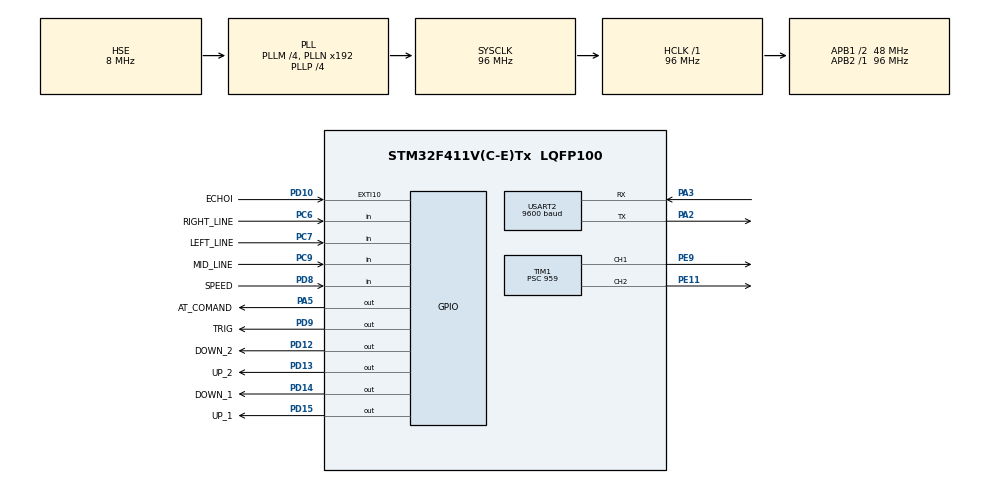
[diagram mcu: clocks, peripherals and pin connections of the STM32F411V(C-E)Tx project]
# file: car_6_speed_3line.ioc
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Mcu.Family=STM32F4
Mcu.Name=STM32F411V(C-E)Tx
Mcu.Package=LQFP100
NVIC.EXTI15_10_IRQn=true\:0\:0\:false\:false\:true\:true\:true
NVIC.PriorityGroup=NVIC_PRIORITYGROUP_0
NVIC.TIM1_BRK_TIM9_IRQn=true\:0\:0\:false\:false\:true\:true\:true
NVIC.TIM1_CC_IRQn=true\:0\:0\:false\:false\:true\:true\:true
NVIC.TIM1_TRG_COM_TIM11_IRQn=true\:0\:0\:false\:false\:true\:true\:true
NVIC.TIM1_UP_TIM10_IRQn=true\:0\:0\:false\:false\:true\:true\:true
NVIC.TIM2_IRQn=true\:0\:0\:false\:false\:true\:true\:true
NVIC.USART2_IRQn=true\:0\:0\:false\:false\:true\:true\:true
PA13.Mode=Serial_Wire
PA13.Signal=SYS_JTMS-SWDIO
PA14.GPIO_Label=SWCLK
PA14.Mode=Serial_Wire
PA14.Signal=SYS_JTCK-SWCLK
PA2.Mode=Asynchronous
PA2.Signal=USART2_TX
PA3.Mode=Asynchronous
PA3.Signal=USART2_RX
PA5.GPIO_Label=AT_COMAND
PA5.GPIO_Speed=GPIO_SPEED_FREQ_MEDIUM
PA5.Signal=GPIO_Output
PC14-OSC32_IN.Mode=LSE-External-Oscillator
PC14-OSC32_IN.Signal=RCC_OSC32_IN
PC15-OSC32_OUT.Mode=LSE-External-Oscillator
PC15-OSC32_OUT.Signal=RCC_OSC32_OUT
PC6.GPIO_Label=RIGHT_LINE
PC6.Signal=GPIO_Input
PC7.GPIO_Label=LEFT_LINE
PC7.Signal=GPIO_Input
PC9.GPIO_Label=MID_LINE
PC9.Signal=GPIO_Input
PD10.GPIO_Label=ECHOI
PD10.GPIO_ModeDefaultEXTI=GPIO_MODE_IT_RISING_FALLING
PD10.Signal=GPXTI10
PD12.GPIO_Label=DOWN_2
PD12.Signal=GPIO_Output
PD13.GPIO_Label=UP_2
PD13.Signal=GPIO_Output
PD14.GPIO_Label=DOWN_1
PD14.Signal=GPIO_Output
PD15.GPIO_Label=UP_1
PD15.Signal=GPIO_Output
PD8.GPIO_Label=SPEED
PD8.Signal=GPIO_Input
PD9.GPIO_Label=TRIG
PD9.Signal=GPIO_Output
PE11.Signal=S_TIM1_CH2
PE9.Signal=S_TIM1_CH1
PH0\ -\ OSC_IN.Mode=HSE-External-Clock-Source
PH0\ -\ OSC_IN.Signal=RCC_OSC_IN
PH1\ -\ OSC_OUT.Mode=HSE-External-Clock-Source
PH1\ -\ OSC_OUT.Signal=RCC_OSC_OUT
ProjectManager.HeapSize=0x200
ProjectManager.StackSize=0x400
ProjectManager.TargetToolchain=SW4STM32
RCC.48MHZClocksFreq_Value=48000000
RCC.AHBFreq_Value=96000000
RCC.APB1CLKDivider=RCC_HCLK_DIV2
RCC.APB1Freq_Value=48000000
RCC.APB1TimFreq_Value=96000000
RCC.APB2Freq_Value=96000000
RCC.APB2TimFreq_Value=96000000
RCC.CortexFreq_Value=96000000
RCC.HCLKFreq_Value=96000000
RCC.HSE_VALUE=8000000
RCC.HSI_VALUE=16000000
RCC.PLLI2SM=5
RCC.PLLI2SN=200
RCC.PLLM=4
RCC.PLLP=RCC_PLLP_DIV4
RCC.PLLQ=8
RCC.PLLSourceVirtual=RCC_PLLSOURCE_HSE
RCC.SYSCLKFreq_VALUE=96000000
RCC.SYSCLKSource=RCC_SYSCLKSOURCE_PLLCLK
RCC.VCOOutputFreq_Value=384000000
SH.S_TIM1_CH1.0=TIM1_CH1,PWM Generation1 CH1
SH.S_TIM1_CH2.0=TIM1_CH2,PWM Generation2 CH2
TIM1.Channel-PWM\ Generation1\ CH1=TIM_CHANNEL_1
TIM1.Channel-PWM\ Generation2\ CH2=TIM_CHANNEL_2
TIM1.Period=10
TIM1.Prescaler=959
TIM2.Period=4000
TIM2.Prescaler=35999
TIM2.TIM_MasterOutputTrigger=TIM_TRGO_UPDATE
USART2.BaudRate=9600
USART2.VirtualMode=VM_ASYNC
VP_TIM1_VS_ClockSourceINT.Mode=Internal
VP_TIM2_VS_ClockSourceINT.Mode=Internal
board=STM32F411E-DISCO

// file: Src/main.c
/* USER CODE BEGIN Header */
/**
  ******************************************************************************
  * @file           : main.c
  * @brief          : Main program body
  ******************************************************************************
  * @attention
  *
  * <h2><center>&copy; Copyright (c) 2020 STMicroelectronics.
  * All rights reserved.</center></h2>
  *
  * This software component is licensed by ST under BSD 3-Clause license,
  * the "License"; You may not use this file except in compliance with the
  * License. You may obtain a copy of the License at:
  *                        opensource.org/licenses/BSD-3-Clause
  *
  ******************************************************************************
  */
/* USER CODE END Header */

#include "main.h"
#include "tim.h"
#include "usart.h"
#include "gpio.h"

/* USER CODE BEGIN Includes */
#include <stdio.h>
#include <string.h>
/* USER CODE END Includes */

/* USER CODE BEGIN PTD */
typedef enum state_t {
 IDLE_S,
 TRIGGERING_S,
 WAITING_FOR_ECHO_START_S,
 WAITING_FOR_ECHO_STOP_S,
 TRIG_NOT_WENT_LOW_S,
 ECHO_TIMEOUT_S,
 ECHO_NOT_WENT_LOW_S,
 READING_DATA_S,
 ERROR_S
} state_t;

volatile state_t state = IDLE_S;

/* USER CODE END PTD */

/* USER CODE BEGIN PD */
#define LOOP_FREQ (SystemCoreClock/4000000)
#define SystemCoreClockInMHz (SystemCoreClock/1000000)
/* USER CODE END PD */

/* USER CODE BEGIN PV */
unsigned char str1[100] = "NOT STR\n";
unsigned char str2[100] = "STR\n";
unsigned volatile char meters_sec[100];
volatile uint32_t measured_time;

/* USER CODE END PV */

void SystemClock_Config(void);
uint8_t byte;
UART_HandleTypeDef huart2;

unsigned char b_chars[6];
/* USER CODE BEGIN PFP */
volatile uint32_t echo_start;
volatile uint32_t echo_finish;
volatile uint32_t measured_time;
volatile uint32_t num_div;
unsigned volatile char meters_sec[100];

volatile int *arr_ccr[] = {&TIM1->CCR1, &TIM1->CCR2};

void makeBalance(int side) {
	if (side == 1) {
		//going right
		*arr_ccr[0] = 4;
		*arr_ccr[1] = 0;

	} else {
		// going left
		*arr_ccr[0] = 0;
		*arr_ccr[1] = 4;
			//go
		}
	}

void line_mode(){

	*arr_ccr[0] = 4;
	*arr_ccr[1] = 4;
	go_up();

	// line is going left
	while (HAL_GPIO_ReadPin(GPIOC, LEFT_LINE_Pin) == 0) {
		makeBalance(0);
	}
	// car is going right
	while (HAL_GPIO_ReadPin(GPIOC, RIGHT_LINE_Pin) == 0) {
		makeBalance(1);
	}

}

void line_mode_2(){
	int speed = 6;
	while (byte != 'N'){

		while (HAL_GPIO_ReadPin(GPIOC, RIGHT_LINE_Pin) == 1 && HAL_GPIO_ReadPin(GPIOC, LEFT_LINE_Pin) == 1){
			reset_all();
//			go_up();
	//		HAL_Delay(1000);
			*arr_ccr[0] = 0;
			*arr_ccr[1] = 0;

		}
			while (HAL_GPIO_ReadPin(GPIOC, RIGHT_LINE_Pin) == 1 && HAL_GPIO_ReadPin(GPIOC, LEFT_LINE_Pin) == 0){
				reset_all();

				*arr_ccr[0] = speed;
				*arr_ccr[1] = speed;

				HAL_GPIO_WritePin(GPIOD, UP_1_Pin, 1);
				HAL_GPIO_WritePin(GPIOD, DOWN_1_Pin, 1);
			}

			while (HAL_GPIO_ReadPin(GPIOC, RIGHT_LINE_Pin) == 0 && HAL_GPIO_ReadPin(GPIOC, LEFT_LINE_Pin) == 1){
				reset_all();
				*arr_ccr[0] = speed;
				*arr_ccr[1] = speed;

				HAL_GPIO_WritePin(GPIOD, UP_2_Pin, 1);
				HAL_GPIO_WritePin(GPIOD, DOWN_2_Pin, 1);

			}

		while (HAL_GPIO_ReadPin(GPIOC, RIGHT_LINE_Pin) == 0 && HAL_GPIO_ReadPin(GPIOC, LEFT_LINE_Pin) == 0){
				reset_all();
				HAL_GPIO_WritePin(GPIOD, UP_1_Pin, 1);
				HAL_GPIO_WritePin(GPIOD, UP_2_Pin, 1);
				*arr_ccr[0] = speed;
				*arr_ccr[1] = speed;
		}
			}
}

void line_mode_3(){
	int speed = 6;
		while (byte != 'N'){

			// STOP
			while (HAL_GPIO_ReadPin(GPIOC, RIGHT_LINE_Pin) == 1 &&
					HAL_GPIO_ReadPin(GPIOC, MID_LINE_Pin) == 1 &&
					HAL_GPIO_ReadPin(GPIOC, LEFT_LINE_Pin) == 1){
				reset_all();
	//			go_up();
		//		HAL_Delay(1000);
				*arr_ccr[0] = 0;
				*arr_ccr[1] = 0;

			}

			// LEFT
				while (HAL_GPIO_ReadPin(GPIOC, RIGHT_LINE_Pin) == 1 && HAL_GPIO_ReadPin(GPIOC, LEFT_LINE_Pin) == 0 && HAL_GPIO_ReadPin(GPIOC, MID_LINE_Pin) == 0){
					reset_all();

					*arr_ccr[0] = 3;
					*arr_ccr[1] = speed;

					HAL_GPIO_WritePin(GPIOD, UP_1_Pin, 1);
					HAL_GPIO_WritePin(GPIOD, DOWN_1_Pin, 1);
				}

				// COOL-LEFT
					while (HAL_GPIO_ReadPin(GPIOC, RIGHT_LINE_Pin) == 1 && HAL_GPIO_ReadPin(GPIOC, LEFT_LINE_Pin) == 0 && HAL_GPIO_ReadPin(GPIOC, MID_LINE_Pin) == 1){
						reset_all();

						*arr_ccr[0] = 10;
						*arr_ccr[1] = 3;

						HAL_GPIO_WritePin(GPIOD, UP_1_Pin, 1);
						HAL_GPIO_WritePin(GPIOD, DOWN_1_Pin, 1);
					}

				// RIGHT
				while (HAL_GPIO_ReadPin(GPIOC, RIGHT_LINE_Pin) == 0 && HAL_GPIO_ReadPin(GPIOC, LEFT_LINE_Pin) == 1 && HAL_GPIO_ReadPin(GPIOC, MID_LINE_Pin) == 0){
					reset_all();
					*arr_ccr[0] = speed;
					*arr_ccr[1] = 3;

					HAL_GPIO_WritePin(GPIOD, UP_2_Pin, 1);
					HAL_GPIO_WritePin(GPIOD, DOWN_2_Pin, 1);

				}

				// COOL-RIGHT
				while (HAL_GPIO_ReadPin(GPIOC, RIGHT_LINE_Pin) == 0 && HAL_GPIO_ReadPin(GPIOC, LEFT_LINE_Pin) == 1 && HAL_GPIO_ReadPin(GPIOC, MID_LINE_Pin) == 1){
					reset_all();
					*arr_ccr[0] = 3;
					*arr_ccr[1] = 10;

					HAL_GPIO_WritePin(GPIOD, UP_2_Pin, 1);
					HAL_GPIO_WritePin(GPIOD, DOWN_2_Pin, 1);
				}

			// UP
			while (HAL_GPIO_ReadPin(GPIOC, RIGHT_LINE_Pin) == 0 &&
					HAL_GPIO_ReadPin(GPIOC, LEFT_LINE_Pin) == 0 &&
					HAL_GPIO_ReadPin(GPIOC, MID_LINE_Pin) == 1){
					reset_all();
					go_up();
					*arr_ccr[0] = speed;
					*arr_ccr[1] = speed;
			}
				}
}

uint32_t getUs(void) {

	uint32_t usTicks = HAL_RCC_GetSysClockFreq() / 1000000;
	register uint32_t ms, cycle_cnt;
	do {
		ms = HAL_GetTick();
		cycle_cnt = SysTick->VAL;
	} while (ms != HAL_GetTick());
		return (ms * 1000) + (usTicks * 1000 - cycle_cnt) / usTicks;
		}

void HAL_GPIO_EXTI_Callback(uint16_t GPIO_Pin)
{
 if (GPIO_Pin == ECHOI_Pin )
 {
  switch (state) {
  case WAITING_FOR_ECHO_START_S: {
   echo_start =  getUs();
   state = WAITING_FOR_ECHO_STOP_S;
   break;
  }
  case WAITING_FOR_ECHO_STOP_S: {
   echo_finish = getUs();
   measured_time = echo_finish - echo_start;
   state = READING_DATA_S;
   break;
  }
  default:
   state = ERROR_S;
  }
 }
}

void reset_all(){
	  HAL_GPIO_WritePin(GPIOD, UP_1_Pin, GPIO_PIN_RESET);
	  HAL_GPIO_WritePin(GPIOD, UP_2_Pin, GPIO_PIN_RESET);
	  HAL_GPIO_WritePin(GPIOD, DOWN_1_Pin, GPIO_PIN_RESET);
	  HAL_GPIO_WritePin(GPIOD, DOWN_2_Pin, GPIO_PIN_RESET);
//	*arr_ccr[0] = 0;
//	*arr_ccr[1] = 0;
}

void turn_right(){
	reset_all();
//	HAL_UART_Transmit(&huart2, str1, strlen((char*)str1), 100);
	HAL_GPIO_WritePin(GPIOD, UP_1_Pin, 1);
	HAL_GPIO_WritePin(GPIOD, DOWN_1_Pin, 1);
}

void go_up(){
	  reset_all();
//		  HAL_UART_Transmit(&huart2, str2, strlen((char*)str2), 100);
//		  HAL_GPIO_TogglePin(GPIOD, UP_1_Pin);
//		  HAL_GPIO_TogglePin(GPIOD, UP_2_Pin);
			HAL_GPIO_WritePin(GPIOD, UP_1_Pin, 1);
			HAL_GPIO_WritePin(GPIOD, UP_2_Pin, 1);
}

void go_down(){
	  reset_all();
//	  HAL_UART_Transmit(&huart2, str1, strlen((char*)str1), 100);
//	  HAL_GPIO_TogglePin(GPIOD, DOWN_1_Pin);
//	  HAL_GPIO_TogglePin(GPIOD, DOWN_2_Pin);
		HAL_GPIO_WritePin(GPIOD, DOWN_1_Pin, 1);
		HAL_GPIO_WritePin(GPIOD, DOWN_2_Pin, 1);
}

uint8_t byte_2;

volatile HAL_StatusTypeDef r;

void HAL_UART_RxCpltCallback(UART_HandleTypeDef *huart)
{
  if (huart->Instance == USART2)
  {

	  char state;
	  if (byte == 'A'){
		  reset_all();

		  HAL_GPIO_TogglePin(GPIOD, UP_1_Pin);
		  HAL_GPIO_TogglePin(GPIOD, UP_2_Pin);

	    str2[99] = '\0';
	  }
	  if (byte == 'B'){
		  reset_all();
		  HAL_GPIO_TogglePin(GPIOD, DOWN_1_Pin);
		  HAL_GPIO_TogglePin(GPIOD, DOWN_2_Pin);
		str1[99] = '\0';
	  }

	  //left
	  if (byte == 'D'){
		  	reset_all();
//			HAL_GPIO_WritePin(GPIOD, DOWN_2_Pin, 1);
			HAL_GPIO_WritePin(GPIOD, UP_2_Pin, 1);
	  		str1[99] = '\0';
	  	  }

	  //right
	  if (byte == 'C'){
		  	reset_all();
			HAL_GPIO_WritePin(GPIOD, UP_1_Pin, 1);
//			HAL_GPIO_WritePin(GPIOD, DOWN_1_Pin, 1);
	  		str1[99] = '\0';
	  	  }

	  if (byte == '0'){
//		  *arr_ccr[0] = 0;
//		  *arr_ccr[1] = 0;
		  reset_all();
	  }

	  if (byte == '3'){
	  	  		  *arr_ccr[0] = 3;
	  	  		  *arr_ccr[1] = 3;
	  	  	  }
	  if (byte == '4'){
	  	  		  *arr_ccr[0] = 4;
	  	  		  *arr_ccr[1] = 4;
	  	  	  }
	  if (byte == '5'){
	  	  		  *arr_ccr[0] = 5;
	  	  		  *arr_ccr[1] = 5;
	  	  	  }
	  if (byte == '6'){
	  	  		  *arr_ccr[0] = 6;
	  	  		  *arr_ccr[1] = 6;
	  	  	  }
	  if (byte == '7'){
	  	  		  *arr_ccr[0] = 7;
	  	  		  *arr_ccr[1] = 7;
	  	  	  }
	  if (byte == '8'){
	  	  		  *arr_ccr[0] = 8;
	  	  		  *arr_ccr[1] = 8;
	  	  	  }
	  if (byte == '9'){
		  	  		  *arr_ccr[0] = 9;
		  	  		  *arr_ccr[1] = 9;
		  	  	  }
  }

  HAL_UART_Receive_IT(&huart2, &byte, 1);
}

/* USER CODE END PFP */

int main(void)
{
	  /* USER CODE BEGIN 1 */
		extern void initialise_monitor_handles(void);
	  /* USER CODE END 1 */

	  /* MCU Configuration--------------------------------------------------------*/

	  /* Reset of all peripherals, Initializes the Flash interface and the Systick. */
	  HAL_Init();

	  /* Configure the system clock */
	  SystemClock_Config();

	  /* Initialize all configured peripherals */
	  MX_GPIO_Init();
	  MX_TIM2_Init();
	  MX_USART2_UART_Init();
	  MX_TIM1_Init();

	  /* Infinite loop */
	  /* USER CODE BEGIN WHILE */
	  HAL_TIM_PWM_Start(&htim1, TIM_CHANNEL_2);
	  HAL_TIM_PWM_Start(&htim1, TIM_CHANNEL_1);

	//  for (int i = 0; i < 4; i++) {
	//  	*arr_ccr[i] = 0;
	//  }

	//  HAL_UART_Receive_IT(&huart2, &byte, 1);
	  	HAL_UART_Receive_IT(&huart2, &b_chars, 1);

	  int num_of_dist = 8;
	  int distance_counter = 0;
	  int max_dist = 0;
	  int min_dist = 500000;
	  int all_distance[num_of_dist];
	  int average = 0;

	  uint32_t useconds = SystemCoreClockInMHz * 1000000;

	  uint32_t num_div = 5;
	  while (1)
	  {

	//	  LINE MODE ON
//		  	  byte = 'L';
		  	   if (byte == 'L'){
		  		   line_mode_3();
		  	   }

	    /* USER CODE END WHILE */

	  }
	}

void SystemClock_Config(void)
{
  RCC_OscInitTypeDef RCC_OscInitStruct = {0};
  RCC_ClkInitTypeDef RCC_ClkInitStruct = {0};

  /** Configure the main internal regulator output voltage
  */
  __HAL_RCC_PWR_CLK_ENABLE();
  __HAL_PWR_VOLTAGESCALING_CONFIG(PWR_REGULATOR_VOLTAGE_SCALE1);
  /** Initializes the CPU, AHB and APB busses clocks
  */
  RCC_OscInitStruct.OscillatorType = RCC_OSCILLATORTYPE_HSE;
  RCC_OscInitStruct.HSEState = RCC_HSE_BYPASS;
  RCC_OscInitStruct.PLL.PLLState = RCC_PLL_ON;
  RCC_OscInitStruct.PLL.PLLSource = RCC_PLLSOURCE_HSE;
  RCC_OscInitStruct.PLL.PLLM = 4;
  RCC_OscInitStruct.PLL.PLLN = 192;
  RCC_OscInitStruct.PLL.PLLP = RCC_PLLP_DIV4;
  RCC_OscInitStruct.PLL.PLLQ = 8;
  if (HAL_RCC_OscConfig(&RCC_OscInitStruct) != HAL_OK)
  {
    Error_Handler();
  }
  /** Initializes the CPU, AHB and APB busses clocks
  */
  RCC_ClkInitStruct.ClockType = RCC_CLOCKTYPE_HCLK|RCC_CLOCKTYPE_SYSCLK
                              |RCC_CLOCKTYPE_PCLK1|RCC_CLOCKTYPE_PCLK2;
  RCC_ClkInitStruct.SYSCLKSource = RCC_SYSCLKSOURCE_PLLCLK;
  RCC_ClkInitStruct.AHBCLKDivider = RCC_SYSCLK_DIV1;
  RCC_ClkInitStruct.APB1CLKDivider = RCC_HCLK_DIV2;
  RCC_ClkInitStruct.APB2CLKDivider = RCC_HCLK_DIV1;

  if (HAL_RCC_ClockConfig(&RCC_ClkInitStruct, FLASH_LATENCY_3) != HAL_OK)
  {
    Error_Handler();
  }
}

void Error_Handler(void)
{
}

/************************ (C) COPYRIGHT STMicroelectronics *****END OF FILE****/
